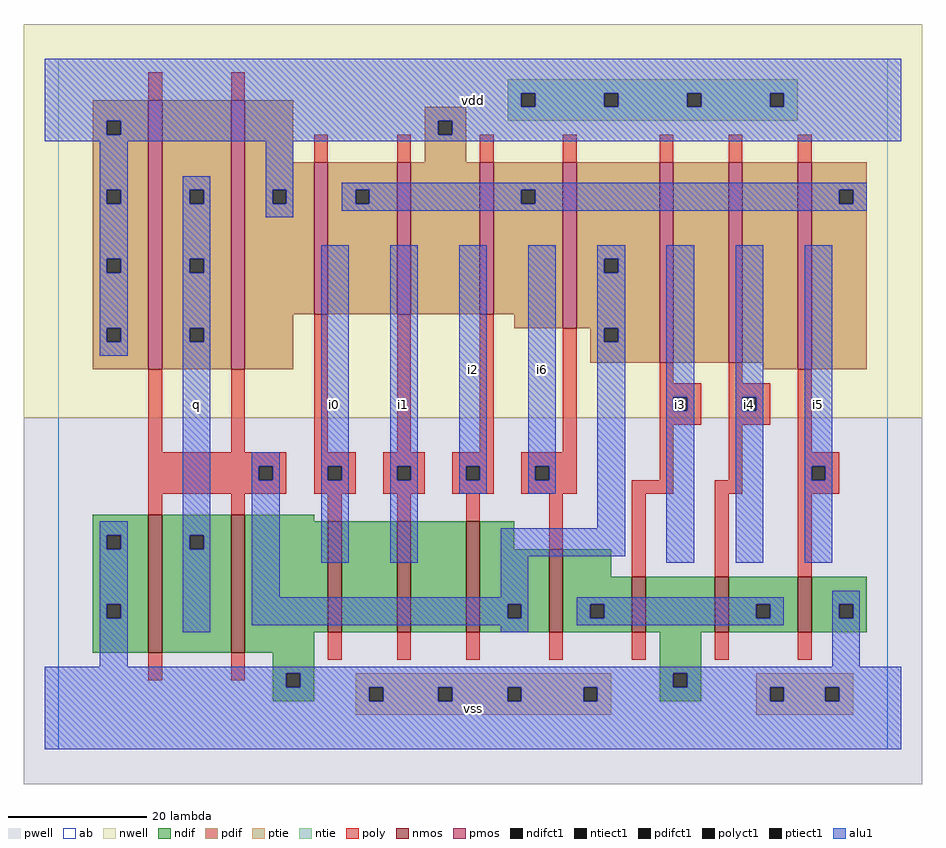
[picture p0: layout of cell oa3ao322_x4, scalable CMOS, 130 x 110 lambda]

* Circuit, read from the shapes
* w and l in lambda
.subckt oa3ao322_x4 i0 i1 i2 i3 i4 i5 i6 q vdd vss
M1 q n1 vss vss nfet w=20 l=2 m=2
M2 n2 i0 vss vss nfet w=16 l=2
M3 n3 i1 n2 vss nfet w=16 l=2
M4 n1 i2 n3 vss nfet w=16 l=2
M5 n4 i6 n1 vss nfet w=12 l=2
M6 vss i3 n4 vss nfet w=8 l=2
M7 n4 i4 vss vss nfet w=8 l=2
M8 vss i5 n4 vss nfet w=8 l=2
M9 q n1 vdd vdd pfet w=39 l=2 m=2
M10 n5 i0 vdd vdd pfet w=22 l=2
M11 vdd i1 n5 vdd pfet w=22 l=2
M12 n5 i2 vdd vdd pfet w=22 l=2
M13 n1 i6 n5 vdd pfet w=24 l=2
M14 n6 i3 n1 vdd pfet w=29 l=2
M15 n7 i4 n6 vdd pfet w=29 l=2
M16 n5 i5 n7 vdd pfet w=30 l=2
.ends

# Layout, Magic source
magic
tech scmos
<< ab >>
rect 0 0 120 100
<< nwell >>
rect -5 48 125 105
<< pwell >>
rect -5 -5 125 48
<< poly >>
rect 13 94 15 98
rect 25 94 27 98
rect 37 85 39 89
rect 49 85 51 89
rect 61 85 63 89
rect 73 85 75 89
rect 87 85 89 89
rect 97 85 99 89
rect 107 85 109 89
rect 13 43 15 55
rect 25 43 27 55
rect 37 43 39 63
rect 49 43 51 63
rect 61 43 63 63
rect 73 43 75 61
rect 13 41 33 43
rect 13 39 29 41
rect 31 39 33 41
rect 13 37 33 39
rect 37 41 43 43
rect 37 39 39 41
rect 41 39 43 41
rect 37 37 43 39
rect 47 41 53 43
rect 47 39 49 41
rect 51 39 53 41
rect 47 37 53 39
rect 57 41 63 43
rect 57 39 59 41
rect 61 39 63 41
rect 57 37 63 39
rect 67 41 75 43
rect 67 39 69 41
rect 71 39 75 41
rect 87 53 89 56
rect 97 53 99 56
rect 87 51 93 53
rect 87 49 89 51
rect 91 49 93 51
rect 87 47 93 49
rect 97 51 103 53
rect 97 49 99 51
rect 101 49 103 51
rect 97 47 103 49
rect 87 39 89 47
rect 97 39 99 47
rect 67 37 75 39
rect 83 37 89 39
rect 95 37 99 39
rect 107 43 109 55
rect 107 41 113 43
rect 107 39 109 41
rect 111 39 113 41
rect 107 37 113 39
rect 13 34 15 37
rect 25 34 27 37
rect 39 33 41 37
rect 49 33 51 37
rect 59 33 61 37
rect 71 29 73 37
rect 83 25 85 37
rect 95 25 97 37
rect 107 25 109 37
rect 13 10 15 14
rect 25 10 27 14
rect 39 13 41 17
rect 49 13 51 17
rect 59 13 61 17
rect 71 13 73 17
rect 83 13 85 17
rect 95 13 97 17
rect 107 13 109 17
<< ndif >>
rect 5 31 13 34
rect 5 29 7 31
rect 9 29 13 31
rect 5 21 13 29
rect 5 19 7 21
rect 9 19 13 21
rect 5 14 13 19
rect 15 31 25 34
rect 15 29 19 31
rect 21 29 25 31
rect 15 14 25 29
rect 27 33 37 34
rect 27 17 39 33
rect 41 17 49 33
rect 51 17 59 33
rect 61 29 66 33
rect 61 21 71 29
rect 61 19 65 21
rect 67 19 71 21
rect 61 17 71 19
rect 73 25 80 29
rect 73 21 83 25
rect 73 19 77 21
rect 79 19 83 21
rect 73 17 83 19
rect 85 17 95 25
rect 97 21 107 25
rect 97 19 101 21
rect 103 19 107 21
rect 97 17 107 19
rect 109 21 117 25
rect 109 19 113 21
rect 115 19 117 21
rect 109 17 117 19
rect 27 14 37 17
rect 31 11 37 14
rect 87 11 93 17
rect 31 9 33 11
rect 35 9 37 11
rect 31 7 37 9
rect 87 9 89 11
rect 91 9 93 11
rect 87 7 93 9
<< pdif >>
rect 5 91 13 94
rect 5 89 7 91
rect 9 89 13 91
rect 5 81 13 89
rect 5 79 7 81
rect 9 79 13 81
rect 5 71 13 79
rect 5 69 7 71
rect 9 69 13 71
rect 5 61 13 69
rect 5 59 7 61
rect 9 59 13 61
rect 5 55 13 59
rect 15 81 25 94
rect 15 79 19 81
rect 21 79 25 81
rect 15 71 25 79
rect 15 69 19 71
rect 21 69 25 71
rect 15 61 25 69
rect 15 59 19 61
rect 21 59 25 61
rect 15 55 25 59
rect 27 85 34 94
rect 53 91 59 93
rect 53 89 55 91
rect 57 89 59 91
rect 53 85 59 89
rect 27 81 37 85
rect 27 79 31 81
rect 33 79 37 81
rect 27 63 37 79
rect 39 81 49 85
rect 39 79 43 81
rect 45 79 49 81
rect 39 63 49 79
rect 51 63 61 85
rect 63 81 73 85
rect 63 79 67 81
rect 69 79 73 81
rect 63 63 73 79
rect 27 55 34 63
rect 66 61 73 63
rect 75 71 87 85
rect 75 69 79 71
rect 81 69 87 71
rect 75 61 87 69
rect 77 59 79 61
rect 81 59 87 61
rect 77 56 87 59
rect 89 56 97 85
rect 99 56 107 85
rect 102 55 107 56
rect 109 81 117 85
rect 109 79 113 81
rect 115 79 117 81
rect 109 55 117 79
<< alu1 >>
rect -2 95 122 100
rect -2 93 67 95
rect 69 93 79 95
rect 81 93 91 95
rect 93 93 103 95
rect 105 93 122 95
rect -2 91 122 93
rect -2 89 7 91
rect 9 89 55 91
rect 57 89 122 91
rect -2 88 122 89
rect 6 81 10 88
rect 6 79 7 81
rect 9 79 10 81
rect 6 71 10 79
rect 6 69 7 71
rect 9 69 10 71
rect 6 61 10 69
rect 6 59 7 61
rect 9 59 10 61
rect 6 57 10 59
rect 18 81 22 83
rect 18 79 19 81
rect 21 79 22 81
rect 18 71 22 79
rect 30 81 34 88
rect 30 79 31 81
rect 33 79 34 81
rect 30 77 34 79
rect 41 81 117 82
rect 41 79 43 81
rect 45 79 67 81
rect 69 79 113 81
rect 115 79 117 81
rect 41 78 117 79
rect 18 69 19 71
rect 21 69 22 71
rect 18 61 22 69
rect 18 59 19 61
rect 21 59 22 61
rect 6 31 10 33
rect 6 29 7 31
rect 9 29 10 31
rect 6 21 10 29
rect 6 19 7 21
rect 9 19 10 21
rect 6 12 10 19
rect 18 31 22 59
rect 18 29 19 31
rect 21 29 22 31
rect 18 17 22 29
rect 28 41 32 43
rect 28 39 29 41
rect 31 39 32 41
rect 28 22 32 39
rect 38 41 42 73
rect 38 39 39 41
rect 41 39 42 41
rect 38 27 42 39
rect 48 41 52 73
rect 48 39 49 41
rect 51 39 52 41
rect 48 27 52 39
rect 58 41 62 73
rect 58 39 59 41
rect 61 39 62 41
rect 58 37 62 39
rect 68 41 72 73
rect 68 39 69 41
rect 71 39 72 41
rect 68 37 72 39
rect 78 71 82 73
rect 78 69 79 71
rect 81 69 82 71
rect 78 61 82 69
rect 78 59 79 61
rect 81 59 82 61
rect 78 32 82 59
rect 64 28 82 32
rect 88 51 92 73
rect 88 49 89 51
rect 91 49 92 51
rect 64 22 68 28
rect 88 27 92 49
rect 98 51 102 73
rect 98 49 99 51
rect 101 49 102 51
rect 98 27 102 49
rect 108 41 112 73
rect 108 39 109 41
rect 111 39 112 41
rect 108 27 112 39
rect 28 21 68 22
rect 28 19 65 21
rect 67 19 68 21
rect 28 18 68 19
rect 75 21 105 22
rect 75 19 77 21
rect 79 19 101 21
rect 103 19 105 21
rect 75 18 105 19
rect 112 21 116 23
rect 112 19 113 21
rect 115 19 116 21
rect 64 17 68 18
rect 112 12 116 19
rect -2 11 122 12
rect -2 9 33 11
rect 35 9 89 11
rect 91 9 122 11
rect -2 7 45 9
rect 47 7 55 9
rect 57 7 65 9
rect 67 7 76 9
rect 78 7 103 9
rect 105 7 111 9
rect 113 7 122 9
rect -2 0 122 7
<< ptie >>
rect 43 9 80 11
rect 43 7 45 9
rect 47 7 55 9
rect 57 7 65 9
rect 67 7 76 9
rect 78 7 80 9
rect 101 9 115 11
rect 101 7 103 9
rect 105 7 111 9
rect 113 7 115 9
rect 43 5 80 7
rect 101 5 115 7
<< ntie >>
rect 65 95 107 97
rect 65 93 67 95
rect 69 93 79 95
rect 81 93 91 95
rect 93 93 103 95
rect 105 93 107 95
rect 65 91 107 93
<< nmos >>
rect 13 14 15 34
rect 25 14 27 34
rect 39 17 41 33
rect 49 17 51 33
rect 59 17 61 33
rect 71 17 73 29
rect 83 17 85 25
rect 95 17 97 25
rect 107 17 109 25
<< pmos >>
rect 13 55 15 94
rect 25 55 27 94
rect 37 63 39 85
rect 49 63 51 85
rect 61 63 63 85
rect 73 61 75 85
rect 87 56 89 85
rect 97 56 99 85
rect 107 55 109 85
<< polyct1 >>
rect 29 39 31 41
rect 39 39 41 41
rect 49 39 51 41
rect 59 39 61 41
rect 69 39 71 41
rect 89 49 91 51
rect 99 49 101 51
rect 109 39 111 41
<< ndifct1 >>
rect 7 29 9 31
rect 7 19 9 21
rect 19 29 21 31
rect 65 19 67 21
rect 77 19 79 21
rect 101 19 103 21
rect 113 19 115 21
rect 33 9 35 11
rect 89 9 91 11
<< ntiect1 >>
rect 67 93 69 95
rect 79 93 81 95
rect 91 93 93 95
rect 103 93 105 95
<< ptiect1 >>
rect 45 7 47 9
rect 55 7 57 9
rect 65 7 67 9
rect 76 7 78 9
rect 103 7 105 9
rect 111 7 113 9
<< pdifct1 >>
rect 7 89 9 91
rect 7 79 9 81
rect 7 69 9 71
rect 7 59 9 61
rect 19 79 21 81
rect 19 69 21 71
rect 19 59 21 61
rect 55 89 57 91
rect 31 79 33 81
rect 43 79 45 81
rect 67 79 69 81
rect 79 69 81 71
rect 79 59 81 61
rect 113 79 115 81
<< labels >>
rlabel alu1 20 50 20 50 6 q
rlabel alu1 50 50 50 50 6 i1
rlabel alu1 40 50 40 50 6 i0
rlabel alu1 60 6 60 6 6 vss
rlabel alu1 60 55 60 55 6 i2
rlabel alu1 70 55 70 55 6 i6
rlabel alu1 60 94 60 94 6 vdd
rlabel polyct1 100 50 100 50 6 i4
rlabel alu1 110 50 110 50 6 i5
rlabel polyct1 90 50 90 50 6 i3
<< end >>
